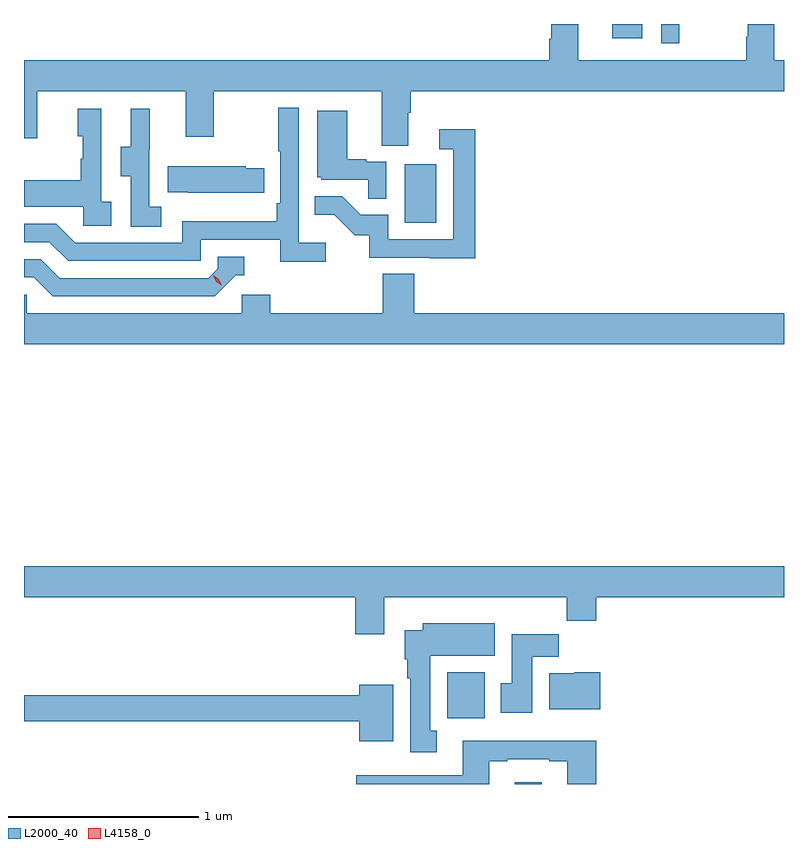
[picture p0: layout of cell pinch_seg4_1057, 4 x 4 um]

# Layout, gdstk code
import gdstk
lib = gdstk.Library(unit=1e-6, precision=1e-09)
def R(c, l, rs):  # rectangles x0, y0, x1, y1
    for r in rs: c.add(gdstk.rectangle(r[:2], r[2:], *l))
def P(c, l, *ps):  # polygons
    for p in ps: c.add(gdstk.Polygon(p, *l))
L2000_40 = (2000, 40)
L4158_0 = (4158, 0)

pinch_seg4_1057 = lib.new_cell('pinch_seg4_1057')
R(pinch_seg4_1057, L2000_40, [(854.363,757.21,854.503,757.219), (854.006,757.556,854.203,757.798), (853.784,760.164,853.948,760.471), (855.132,761.109,855.228,761.21), (854.876,761.136,855.034,761.21)])
P(pinch_seg4_1057, L2000_40, [(853.801,760.744),(853.814,760.744),(853.814,760.856),(855.779,760.856),(855.779,761.02),(855.727,761.02),(855.727,761.21),(855.587,761.21),(855.587,761.144),(855.58,761.144),(855.58,761.02),(854.695,761.02),(854.695,761.21),(854.555,761.21),(854.555,761.132),(854.543,761.132),(854.543,761.02),(851.779,761.02),(851.779,760.608),(851.849,760.608),(851.849,760.856),(852.629,760.856),(852.629,760.617),(852.777,760.617),(852.777,760.856),(853.661,760.856),(853.661,760.57),(853.801,760.57)],
  [(853.366,760.06),(853.224,760.06),(853.224,760.768),(853.116,760.768),(853.116,760.54),(853.128,760.54),(853.128,760.267),(853.108,760.267),(853.108,760.171),(852.612,760.171),(852.612,760.059),(852.048,760.059),(851.949,760.158),(851.779,760.158),(851.779,760.062),(851.912,760.062),(852.011,759.963),(852.708,759.963),(852.708,760.074),(853.127,760.074),(853.127,759.958),(853.366,759.958)],
  [(852.238,760.274),(852.186,760.274),(852.186,760.765),(852.062,760.765),(852.062,760.62),(852.088,760.62),(852.088,760.502),(852.078,760.502),(852.078,760.387),(851.779,760.387),(851.779,760.247),(852.09,760.247),(852.09,760.149),(852.238,760.149)],
  [(852.502,760.247),(852.438,760.247),(852.438,760.551),(852.44,760.551),(852.44,760.765),(852.341,760.765),(852.341,760.563),(852.287,760.563),(852.287,760.408),(852.342,760.408),(852.342,760.144),(852.502,760.144)],
  [(853.686,760.485),(853.58,760.485),(853.58,760.498),(853.48,760.498),(853.48,760.753),(853.322,760.753),(853.322,760.404),(853.344,760.404),(853.344,760.389),(853.591,760.389),(853.591,760.291),(853.686,760.291)],
  [(854.153,760.657),(853.965,760.657),(853.965,760.551),(854.037,760.551),(854.037,760.077),(853.695,760.077),(853.695,760.206),(853.551,760.206),(853.453,760.304),(853.309,760.304),(853.309,760.205),(853.413,760.205),(853.52,760.098),(853.597,760.098),(853.597,759.981),(853.915,759.981),(853.915,759.976),(854.153,759.976)],
  [(853.043,760.452),(852.945,760.452),(852.945,760.462),(852.535,760.462),(852.535,760.325),(852.643,760.325),(852.643,760.322),(853.043,760.322)],
  [(852.894,759.888),(852.937,759.888),(852.937,759.984),(852.798,759.984),(852.798,759.921),(852.75,759.873),(851.967,759.873),(851.868,759.972),(851.779,759.972),(851.779,759.876),(851.831,759.876),(851.93,759.777),(852.783,759.777)],
  [(855.779,759.688),(853.832,759.688),(853.832,759.896),(853.667,759.896),(853.667,759.688),(853.076,759.688),(853.076,759.786),(852.924,759.786),(852.924,759.688),(851.793,759.688),(851.793,759.786),(851.779,759.786),(851.779,759.524),(855.779,759.524)],
  [(853.675,758.192),(854.635,758.192),(854.635,758.068),(854.792,758.068),(854.792,758.192),(855.779,758.192),(855.779,758.356),(851.779,758.356),(851.779,758.192),(853.523,758.192),(853.523,757.998),(853.675,757.998)],
  [(853.951,757.49),(853.918,757.49),(853.918,757.886),(854.257,757.886),(854.257,758.056),(853.877,758.056),(853.877,758.02),(853.784,758.02),(853.784,757.866),(853.796,757.866),(853.796,757.766),(853.811,757.766),(853.811,757.377),(853.951,757.377)],
  [(854.455,757.88),(854.594,757.88),(854.594,757.998),(854.345,757.998),(854.345,757.74),(854.288,757.74),(854.288,757.584),(854.455,757.584)],
  [(854.812,757.798),(854.676,757.798),(854.676,757.792),(854.543,757.792),(854.543,757.604),(854.812,757.604)],
  [(853.723,757.732),(853.544,757.732),(853.544,757.676),(851.779,757.676),(851.779,757.54),(853.544,757.54),(853.544,757.436),(853.723,757.436)],
  [(854.227,757.329),(854.323,757.329),(854.323,757.341),(854.543,757.341),(854.543,757.329),(854.639,757.329),(854.639,757.21),(854.792,757.21),(854.792,757.438),(854.087,757.438),(854.087,757.257),(853.527,757.257),(853.527,757.21),(854.227,757.21)])
P(pinch_seg4_1057, L4158_0, [(852.82,759.834),(852.79,759.854),(852.774,759.887),(852.774,759.887),(852.774,759.887),(852.805,759.867),(852.821,759.835),(852.821,759.834)])

lib.write_gds('pinch_seg4_1057.gds')
